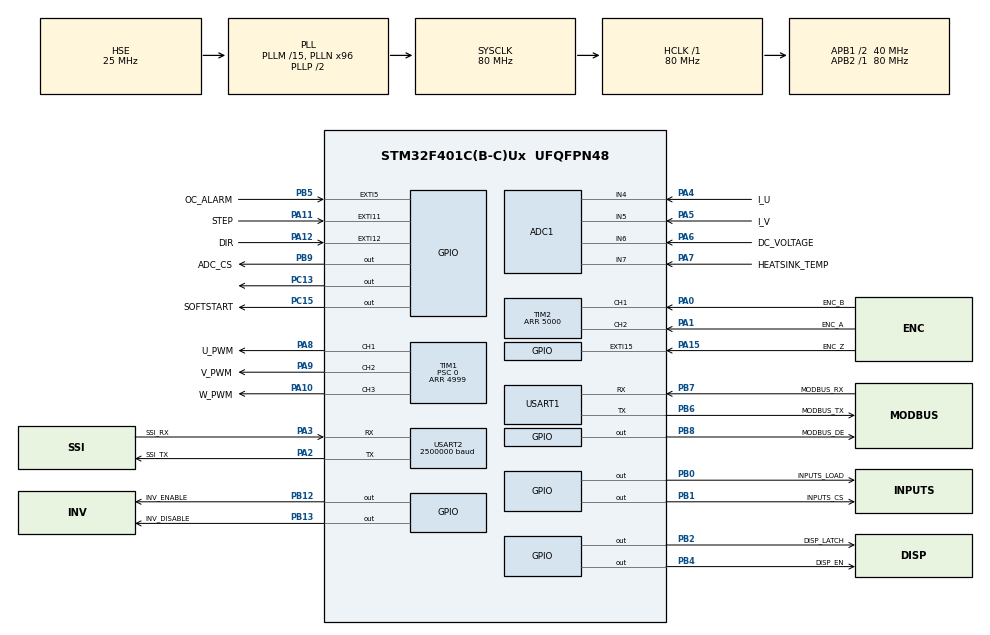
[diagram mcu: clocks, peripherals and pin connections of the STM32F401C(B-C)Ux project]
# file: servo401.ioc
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ADC1.Channel-0\#ChannelRegularConversion=ADC_CHANNEL_4
ADC1.Channel-1\#ChannelRegularConversion=ADC_CHANNEL_5
ADC1.Channel-2\#ChannelRegularConversion=ADC_CHANNEL_6
ADC1.Channel-3\#ChannelRegularConversion=ADC_CHANNEL_7
ADC1.ContinuousConvMode=DISABLE
ADC1.EOCSelection=ADC_EOC_SEQ_CONV
ADC1.NbrOfConversion=4
ADC1.NbrOfConversionFlag=1
ADC1.Rank-0\#ChannelRegularConversion=1
ADC1.Rank-1\#ChannelRegularConversion=2
ADC1.Rank-2\#ChannelRegularConversion=3
ADC1.Rank-3\#ChannelRegularConversion=4
ADC1.SamplingTime-0\#ChannelRegularConversion=ADC_SAMPLETIME_3CYCLES
ADC1.SamplingTime-1\#ChannelRegularConversion=ADC_SAMPLETIME_3CYCLES
ADC1.SamplingTime-2\#ChannelRegularConversion=ADC_SAMPLETIME_3CYCLES
ADC1.SamplingTime-3\#ChannelRegularConversion=ADC_SAMPLETIME_3CYCLES
ADC1.ScanConvMode=ENABLE
ADC1.master=1
Dma.ADC1.0.Direction=DMA_PERIPH_TO_MEMORY
Dma.ADC1.0.FIFOMode=DMA_FIFOMODE_DISABLE
Dma.ADC1.0.Instance=DMA2_Stream0
Dma.ADC1.0.MemDataAlignment=DMA_MDATAALIGN_HALFWORD
Dma.ADC1.0.MemInc=DMA_MINC_ENABLE
Dma.ADC1.0.Mode=DMA_NORMAL
Dma.ADC1.0.PeriphDataAlignment=DMA_PDATAALIGN_HALFWORD
Dma.ADC1.0.PeriphInc=DMA_PINC_DISABLE
Dma.ADC1.0.Priority=DMA_PRIORITY_HIGH
Dma.Request0=ADC1
Dma.Request1=USART1_RX
Dma.Request2=USART1_TX
Dma.Request3=USART2_RX
Dma.Request4=USART2_TX
Dma.USART1_RX.1.Direction=DMA_PERIPH_TO_MEMORY
Dma.USART1_RX.1.FIFOMode=DMA_FIFOMODE_DISABLE
Dma.USART1_RX.1.Instance=DMA2_Stream2
Dma.USART1_RX.1.MemDataAlignment=DMA_MDATAALIGN_BYTE
Dma.USART1_RX.1.MemInc=DMA_MINC_ENABLE
Dma.USART1_RX.1.Mode=DMA_NORMAL
Dma.USART1_RX.1.PeriphDataAlignment=DMA_PDATAALIGN_BYTE
Dma.USART1_RX.1.PeriphInc=DMA_PINC_DISABLE
Dma.USART1_RX.1.Priority=DMA_PRIORITY_LOW
Dma.USART1_TX.2.Direction=DMA_MEMORY_TO_PERIPH
Dma.USART1_TX.2.FIFOMode=DMA_FIFOMODE_DISABLE
Dma.USART1_TX.2.Instance=DMA2_Stream7
Dma.USART1_TX.2.MemDataAlignment=DMA_MDATAALIGN_BYTE
Dma.USART1_TX.2.MemInc=DMA_MINC_ENABLE
Dma.USART1_TX.2.Mode=DMA_NORMAL
Dma.USART1_TX.2.PeriphDataAlignment=DMA_PDATAALIGN_BYTE
Dma.USART1_TX.2.PeriphInc=DMA_PINC_DISABLE
Dma.USART1_TX.2.Priority=DMA_PRIORITY_MEDIUM
Dma.USART2_RX.3.Direction=DMA_PERIPH_TO_MEMORY
Dma.USART2_RX.3.FIFOMode=DMA_FIFOMODE_DISABLE
Dma.USART2_RX.3.Instance=DMA1_Stream5
Dma.USART2_RX.3.MemDataAlignment=DMA_MDATAALIGN_BYTE
Dma.USART2_RX.3.MemInc=DMA_MINC_ENABLE
Dma.USART2_RX.3.Mode=DMA_NORMAL
Dma.USART2_RX.3.PeriphDataAlignment=DMA_PDATAALIGN_BYTE
Dma.USART2_RX.3.PeriphInc=DMA_PINC_DISABLE
Dma.USART2_RX.3.Priority=DMA_PRIORITY_LOW
Dma.USART2_TX.4.Direction=DMA_MEMORY_TO_PERIPH
Dma.USART2_TX.4.FIFOMode=DMA_FIFOMODE_DISABLE
Dma.USART2_TX.4.Instance=DMA1_Stream6
Dma.USART2_TX.4.MemDataAlignment=DMA_MDATAALIGN_BYTE
Dma.USART2_TX.4.MemInc=DMA_MINC_ENABLE
Dma.USART2_TX.4.Mode=DMA_NORMAL
Dma.USART2_TX.4.PeriphDataAlignment=DMA_PDATAALIGN_BYTE
Dma.USART2_TX.4.PeriphInc=DMA_PINC_DISABLE
Dma.USART2_TX.4.Priority=DMA_PRIORITY_LOW
FREERTOS.Tasks01=defaultTask,24,128,StartDefaultTask,Default,NULL,Dynamic,NULL,NULL
FREERTOS.configUSE_NEWLIB_REENTRANT=1
Mcu.Family=STM32F4
Mcu.Name=STM32F401C(B-C)Ux
Mcu.Package=UFQFPN48
NVIC.DMA1_Stream5_IRQn=true\:5\:0\:false\:false\:true\:true\:false\:true\:true
NVIC.DMA1_Stream6_IRQn=true\:5\:0\:false\:false\:true\:true\:false\:true\:true
NVIC.DMA2_Stream0_IRQn=true\:5\:0\:false\:false\:true\:true\:false\:true\:true
NVIC.DMA2_Stream2_IRQn=true\:5\:0\:false\:false\:true\:true\:false\:true\:true
NVIC.DMA2_Stream7_IRQn=true\:5\:0\:false\:false\:true\:true\:false\:true\:true
NVIC.EXTI15_10_IRQn=true\:5\:0\:false\:false\:true\:true\:true\:true\:true
NVIC.PriorityGroup=NVIC_PRIORITYGROUP_4
NVIC.TIM1_UP_TIM10_IRQn=true\:5\:0\:false\:false\:true\:true\:true\:true\:true
NVIC.TIM3_IRQn=true\:5\:0\:false\:false\:true\:true\:true\:true\:true
NVIC.TIM4_IRQn=true\:5\:0\:false\:false\:true\:true\:true\:true\:true
NVIC.USART1_IRQn=true\:5\:0\:false\:false\:true\:true\:true\:true\:true
NVIC.USART2_IRQn=true\:5\:0\:false\:false\:true\:true\:true\:true\:true
PA0-WKUP.GPIO_Label=ENC_B
PA0-WKUP.Signal=S_TIM2_CH1_ETR
PA1.GPIO_Label=ENC_A
PA1.Signal=S_TIM2_CH2
PA10.GPIO_Label=W_PWM
PA10.Signal=S_TIM1_CH3
PA11.GPIO_Label=STEP
PA11.Signal=GPXTI11
PA12.GPIO_Label=DIR
PA12.Signal=GPXTI12
PA13.Mode=Serial_Wire
PA13.Signal=SYS_JTMS-SWDIO
PA14.Mode=Serial_Wire
PA14.Signal=SYS_JTCK-SWCLK
PA15.GPIO_Label=ENC_Z
PA15.Signal=GPXTI15
PA2.GPIO_Label=SSI_TX
PA2.Mode=Asynchronous
PA2.Signal=USART2_TX
PA3.GPIO_Label=SSI_RX
PA3.Mode=Asynchronous
PA3.Signal=USART2_RX
PA4.GPIO_Label=I_U
PA4.Signal=ADCx_IN4
PA5.GPIO_Label=I_V
PA5.Signal=ADCx_IN5
PA6.GPIO_Label=DC_VOLTAGE
PA6.Signal=ADCx_IN6
PA7.GPIO_Label=HEATSINK_TEMP
PA7.Signal=ADCx_IN7
PA8.GPIO_Label=U_PWM
PA8.Signal=S_TIM1_CH1
PA9.GPIO_Label=V_PWM
PA9.Signal=S_TIM1_CH2
PB0.GPIO_Label=INPUTS_LOAD
PB0.Signal=GPIO_Output
PB1.GPIO_Label=INPUTS_CS
PB1.Signal=GPIO_Output
PB10.GPIO_Label=SPI_CLK
PB10.Signal=SPI2_SCK
PB12.GPIO_Label=INV_ENABLE
PB12.PinState=GPIO_PIN_SET
PB12.Signal=GPIO_Output
PB13.GPIO_Label=INV_DISABLE
PB13.PinState=GPIO_PIN_SET
PB13.Signal=GPIO_Output
PB14.Signal=SPI2_MISO
PB15.Signal=SPI2_MOSI
PB2.GPIO_Label=DISP_LATCH
PB2.Signal=GPIO_Output
PB4.GPIO_Label=DISP_EN
PB4.Signal=GPIO_Output
PB5.GPIO_Label=OC_ALARM
PB5.Signal=GPXTI5
PB6.GPIO_Label=MODBUS_TX
PB6.Mode=Asynchronous
PB6.Signal=USART1_TX
PB7.GPIO_Label=MODBUS_RX
PB7.Mode=Asynchronous
PB7.Signal=USART1_RX
PB8.GPIO_Label=MODBUS_DE
PB8.PinState=GPIO_PIN_RESET
PB8.Signal=GPIO_Output
PB9.GPIO_Label=ADC_CS
PB9.Signal=GPIO_Output
PC13-ANTI_TAMP.Signal=GPIO_Output
PC15-OSC32_OUT.GPIO_Label=SOFTSTART
PC15-OSC32_OUT.Signal=GPIO_Output
PH0\ -\ OSC_IN.Mode=HSE-External-Oscillator
PH0\ -\ OSC_IN.Signal=RCC_OSC_IN
PH1\ -\ OSC_OUT.Mode=HSE-External-Oscillator
PH1\ -\ OSC_OUT.Signal=RCC_OSC_OUT
ProjectManager.HeapSize=0x200
ProjectManager.StackSize=0x400
ProjectManager.TargetToolchain=STM32CubeIDE
RCC.48MHZClocksFreq_Value=40000000
RCC.AHBFreq_Value=80000000
RCC.APB1CLKDivider=RCC_HCLK_DIV2
RCC.APB1Freq_Value=40000000
RCC.APB1TimFreq_Value=80000000
RCC.APB2Freq_Value=80000000
RCC.APB2TimFreq_Value=80000000
RCC.CortexFreq_Value=80000000
RCC.HCLKFreq_Value=80000000
RCC.HSE_VALUE=25000000
RCC.HSI_VALUE=16000000
RCC.LSE_VALUE=32768
RCC.PLLM=15
RCC.PLLN=96
RCC.PLLSourceVirtual=RCC_PLLSOURCE_HSE
RCC.SYSCLKFreq_VALUE=80000000
RCC.SYSCLKSource=RCC_SYSCLKSOURCE_PLLCLK
RCC.VCOOutputFreq_Value=160000000
SH.ADCx_IN4.0=ADC1_IN4,IN4
SH.ADCx_IN5.0=ADC1_IN5,IN5
SH.ADCx_IN6.0=ADC1_IN6,IN6
SH.ADCx_IN7.0=ADC1_IN7,IN7
SH.S_TIM1_CH1.0=TIM1_CH1,PWM Generation1 CH1
SH.S_TIM1_CH2.0=TIM1_CH2,PWM Generation2 CH2
SH.S_TIM1_CH3.0=TIM1_CH3,PWM Generation3 CH3
SH.S_TIM2_CH1_ETR.0=TIM2_CH1,Encoder_Interface
SH.S_TIM2_CH2.0=TIM2_CH2,Encoder_Interface
TIM1.Channel-PWM\ Generation1\ CH1=TIM_CHANNEL_1
TIM1.Channel-PWM\ Generation2\ CH2=TIM_CHANNEL_2
TIM1.Channel-PWM\ Generation3\ CH3=TIM_CHANNEL_3
TIM1.CounterMode=TIM_COUNTERMODE_CENTERALIGNED1
TIM1.OCFastMode_PWM-PWM\ Generation1\ CH1=TIM_OCFAST_ENABLE
TIM1.OCFastMode_PWM-PWM\ Generation2\ CH2=TIM_OCFAST_ENABLE
TIM1.OCFastMode_PWM-PWM\ Generation3\ CH3=TIM_OCFAST_ENABLE
TIM1.OCIdleState_1=TIM_OCIDLESTATE_SET
TIM1.OCIdleState_2=TIM_OCIDLESTATE_SET
TIM1.OCIdleState_3=TIM_OCIDLESTATE_SET
TIM1.OCPolarity_1=TIM_OCPOLARITY_LOW
TIM1.OCPolarity_2=TIM_OCPOLARITY_LOW
TIM1.OCPolarity_3=TIM_OCPOLARITY_LOW
TIM1.Period=4999
TIM1.Prescaler=0
TIM2.EncoderMode=TIM_ENCODERMODE_TI2
TIM2.IC1Filter=10
TIM2.IC2Filter=10
TIM2.Period=5000
TIM3.AutoReloadPreload=TIM_AUTORELOAD_PRELOAD_ENABLE
TIM3.Period=15999
TIM4.AutoReloadPreload=TIM_AUTORELOAD_PRELOAD_ENABLE
TIM4.Period=63999
TIM4.Prescaler=1
USART1.VirtualMode=VM_ASYNC
USART2.BaudRate=2500000
USART2.VirtualMode=VM_ASYNC
VP_FREERTOS_VS_CMSIS_V2.Mode=CMSIS_V2
VP_TIM1_VS_ClockSourceINT.Mode=Internal
VP_TIM3_VS_ClockSourceINT.Mode=Internal
VP_TIM4_VS_ClockSourceINT.Mode=Internal
board=custom

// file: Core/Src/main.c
/* USER CODE BEGIN Header */
/**
  ******************************************************************************
  * @file           : main.c
  * @brief          : Main program body
  ******************************************************************************
  * @attention
  *
  * Copyright (c) 2022 STMicroelectronics.
  * All rights reserved.
  *
  * This software is licensed under terms that can be found in the LICENSE file
  * in the root directory of this software component.
  * If no LICENSE file comes with this software, it is provided AS-IS.
  *
  ******************************************************************************
  */
/* USER CODE END Header */
#include "main.h"
#include "cmsis_os.h"

/* USER CODE BEGIN Includes */
#include "comm_modbus.h"
#include <stdio.h>
#include "mitsubishi_encoder.h"
#include "tamagawa_encoder.h"
#include  "delta_encoder.h"
#include "inverter.h"
/* USER CODE END Includes */

ADC_HandleTypeDef hadc1;
DMA_HandleTypeDef hdma_adc1;

TIM_HandleTypeDef htim1;
TIM_HandleTypeDef htim2;
TIM_HandleTypeDef htim3;
TIM_HandleTypeDef htim4;

UART_HandleTypeDef huart1;
UART_HandleTypeDef huart2;
DMA_HandleTypeDef hdma_usart1_rx;
DMA_HandleTypeDef hdma_usart1_tx;
DMA_HandleTypeDef hdma_usart2_rx;
DMA_HandleTypeDef hdma_usart2_tx;

/* Definitions for defaultTask */
osThreadId_t defaultTaskHandle;
const osThreadAttr_t defaultTask_attributes = {
  .name = "defaultTask",
  .stack_size = 128 * 4,
  .priority = (osPriority_t) osPriorityNormal,
};
/* USER CODE BEGIN PV */
extern uint16_t ADC_rawdata[4];
/* USER CODE END PV */

void SystemClock_Config(void);
static void MX_GPIO_Init(void);
static void MX_ADC1_Init(void);
static void MX_TIM1_Init(void);
static void MX_TIM2_Init(void);
static void MX_DMA_Init(void);
static void MX_USART2_UART_Init(void);
static void MX_USART1_UART_Init(void);
static void MX_TIM3_Init(void);
static void MX_TIM4_Init(void);
void StartDefaultTask(void *argument);

int main(void)
{

  /* MCU Configuration--------------------------------------------------------*/

  /* Reset of all peripherals, Initializes the Flash interface and the Systick. */
	HAL_Init();

  /* Configure the system clock */
  SystemClock_Config();

  /* Initialize all configured peripherals */
  MX_GPIO_Init();MX_DMA_Init();
  MX_ADC1_Init();
  MX_TIM1_Init();
  MX_TIM2_Init();

  MX_USART2_UART_Init();
  MX_USART1_UART_Init();
  MX_TIM3_Init();
  MX_TIM4_Init();

  /* Init scheduler */
  osKernelInitialize();

  /* Create the thread(s) */
  /* creation of defaultTask */
  defaultTaskHandle = osThreadNew(StartDefaultTask, NULL, &defaultTask_attributes);

  /* Start scheduler */
  osKernelStart();

  /* We should never get here as control is now taken by the scheduler */
  /* Infinite loop */
  while (1)
  {

  }
}

void SystemClock_Config(void)
{
  RCC_OscInitTypeDef RCC_OscInitStruct = {0};
  RCC_ClkInitTypeDef RCC_ClkInitStruct = {0};

  /** Configure the main internal regulator output voltage
  */
  __HAL_RCC_PWR_CLK_ENABLE();
  __HAL_PWR_VOLTAGESCALING_CONFIG(PWR_REGULATOR_VOLTAGE_SCALE2);

  /** Initializes the RCC Oscillators according to the specified parameters
  * in the RCC_OscInitTypeDef structure.
  */
  RCC_OscInitStruct.OscillatorType = RCC_OSCILLATORTYPE_HSE;
  RCC_OscInitStruct.HSEState = RCC_HSE_ON;
  RCC_OscInitStruct.PLL.PLLState = RCC_PLL_ON;
  RCC_OscInitStruct.PLL.PLLSource = RCC_PLLSOURCE_HSE;
  RCC_OscInitStruct.PLL.PLLM = 15;
  RCC_OscInitStruct.PLL.PLLN = 96;
  RCC_OscInitStruct.PLL.PLLP = RCC_PLLP_DIV2;
  RCC_OscInitStruct.PLL.PLLQ = 4;
  if (HAL_RCC_OscConfig(&RCC_OscInitStruct) != HAL_OK)
  {
    Error_Handler();
  }

  /** Initializes the CPU, AHB and APB buses clocks
  */
  RCC_ClkInitStruct.ClockType = RCC_CLOCKTYPE_HCLK|RCC_CLOCKTYPE_SYSCLK
                              |RCC_CLOCKTYPE_PCLK1|RCC_CLOCKTYPE_PCLK2;
  RCC_ClkInitStruct.SYSCLKSource = RCC_SYSCLKSOURCE_PLLCLK;
  RCC_ClkInitStruct.AHBCLKDivider = RCC_SYSCLK_DIV1;
  RCC_ClkInitStruct.APB1CLKDivider = RCC_HCLK_DIV2;
  RCC_ClkInitStruct.APB2CLKDivider = RCC_HCLK_DIV1;

  if (HAL_RCC_ClockConfig(&RCC_ClkInitStruct, FLASH_LATENCY_2) != HAL_OK)
  {
    Error_Handler();
  }
}

static void MX_ADC1_Init(void)
{

  ADC_ChannelConfTypeDef sConfig = {0};

  /** Configure the global features of the ADC (Clock, Resolution, Data Alignment and number of conversion)
  */
  hadc1.Instance = ADC1;
  hadc1.Init.ClockPrescaler = ADC_CLOCK_SYNC_PCLK_DIV4;
  hadc1.Init.Resolution = ADC_RESOLUTION_12B;
  hadc1.Init.ScanConvMode = ENABLE;
  hadc1.Init.ContinuousConvMode = DISABLE;
  hadc1.Init.DiscontinuousConvMode = DISABLE;
  hadc1.Init.ExternalTrigConvEdge = ADC_EXTERNALTRIGCONVEDGE_NONE;
  hadc1.Init.ExternalTrigConv = ADC_SOFTWARE_START;
  hadc1.Init.DataAlign = ADC_DATAALIGN_RIGHT;
  hadc1.Init.NbrOfConversion = 4;
  hadc1.Init.DMAContinuousRequests = DISABLE;
  hadc1.Init.EOCSelection = ADC_EOC_SEQ_CONV;
  if (HAL_ADC_Init(&hadc1) != HAL_OK)
  {
    Error_Handler();
  }

  /** Configure for the selected ADC regular channel its corresponding rank in the sequencer and its sample time.
  */
  sConfig.Channel = ADC_CHANNEL_4;
  sConfig.Rank = 1;
  sConfig.SamplingTime = ADC_SAMPLETIME_3CYCLES;
  if (HAL_ADC_ConfigChannel(&hadc1, &sConfig) != HAL_OK)
  {
    Error_Handler();
  }

  /** Configure for the selected ADC regular channel its corresponding rank in the sequencer and its sample time.
  */
  sConfig.Channel = ADC_CHANNEL_5;
  sConfig.Rank = 2;
  if (HAL_ADC_ConfigChannel(&hadc1, &sConfig) != HAL_OK)
  {
    Error_Handler();
  }

  /** Configure for the selected ADC regular channel its corresponding rank in the sequencer and its sample time.
  */
  sConfig.Channel = ADC_CHANNEL_6;
  sConfig.Rank = 3;
  if (HAL_ADC_ConfigChannel(&hadc1, &sConfig) != HAL_OK)
  {
    Error_Handler();
  }

  /** Configure for the selected ADC regular channel its corresponding rank in the sequencer and its sample time.
  */
  sConfig.Channel = ADC_CHANNEL_7;
  sConfig.Rank = 4;
  if (HAL_ADC_ConfigChannel(&hadc1, &sConfig) != HAL_OK)
  {
    Error_Handler();
  }

}

static void MX_TIM1_Init(void)
{

  TIM_ClockConfigTypeDef sClockSourceConfig = {0};
  TIM_MasterConfigTypeDef sMasterConfig = {0};
  TIM_OC_InitTypeDef sConfigOC = {0};
  TIM_BreakDeadTimeConfigTypeDef sBreakDeadTimeConfig = {0};

  htim1.Instance = TIM1;
  htim1.Init.Prescaler = 0;
  htim1.Init.CounterMode = TIM_COUNTERMODE_CENTERALIGNED1;
  htim1.Init.Period = 4999;
  htim1.Init.ClockDivision = TIM_CLOCKDIVISION_DIV1;
  htim1.Init.RepetitionCounter = 0;
  htim1.Init.AutoReloadPreload = TIM_AUTORELOAD_PRELOAD_DISABLE;
  if (HAL_TIM_Base_Init(&htim1) != HAL_OK)
  {
    Error_Handler();
  }
  sClockSourceConfig.ClockSource = TIM_CLOCKSOURCE_INTERNAL;
  if (HAL_TIM_ConfigClockSource(&htim1, &sClockSourceConfig) != HAL_OK)
  {
    Error_Handler();
  }
  if (HAL_TIM_PWM_Init(&htim1) != HAL_OK)
  {
    Error_Handler();
  }
  sMasterConfig.MasterOutputTrigger = TIM_TRGO_RESET;
  sMasterConfig.MasterSlaveMode = TIM_MASTERSLAVEMODE_DISABLE;
  if (HAL_TIMEx_MasterConfigSynchronization(&htim1, &sMasterConfig) != HAL_OK)
  {
    Error_Handler();
  }
  sConfigOC.OCMode = TIM_OCMODE_PWM1;
  sConfigOC.Pulse = 0;
  sConfigOC.OCPolarity = TIM_OCPOLARITY_LOW;
  sConfigOC.OCNPolarity = TIM_OCNPOLARITY_HIGH;
  sConfigOC.OCFastMode = TIM_OCFAST_ENABLE;
  sConfigOC.OCIdleState = TIM_OCIDLESTATE_SET;
  sConfigOC.OCNIdleState = TIM_OCNIDLESTATE_RESET;
  if (HAL_TIM_PWM_ConfigChannel(&htim1, &sConfigOC, TIM_CHANNEL_1) != HAL_OK)
  {
    Error_Handler();
  }
  if (HAL_TIM_PWM_ConfigChannel(&htim1, &sConfigOC, TIM_CHANNEL_2) != HAL_OK)
  {
    Error_Handler();
  }
  if (HAL_TIM_PWM_ConfigChannel(&htim1, &sConfigOC, TIM_CHANNEL_3) != HAL_OK)
  {
    Error_Handler();
  }
  sBreakDeadTimeConfig.OffStateRunMode = TIM_OSSR_DISABLE;
  sBreakDeadTimeConfig.OffStateIDLEMode = TIM_OSSI_DISABLE;
  sBreakDeadTimeConfig.LockLevel = TIM_LOCKLEVEL_OFF;
  sBreakDeadTimeConfig.DeadTime = 0;
  sBreakDeadTimeConfig.BreakState = TIM_BREAK_DISABLE;
  sBreakDeadTimeConfig.BreakPolarity = TIM_BREAKPOLARITY_HIGH;
  sBreakDeadTimeConfig.AutomaticOutput = TIM_AUTOMATICOUTPUT_DISABLE;
  if (HAL_TIMEx_ConfigBreakDeadTime(&htim1, &sBreakDeadTimeConfig) != HAL_OK)
  {
    Error_Handler();
  }
  HAL_TIM_MspPostInit(&htim1);

}

static void MX_TIM2_Init(void)
{

  TIM_Encoder_InitTypeDef sConfig = {0};
  TIM_MasterConfigTypeDef sMasterConfig = {0};

  htim2.Instance = TIM2;
  htim2.Init.Prescaler = 0;
  htim2.Init.CounterMode = TIM_COUNTERMODE_UP;
  htim2.Init.Period = 5000;
  htim2.Init.ClockDivision = TIM_CLOCKDIVISION_DIV1;
  htim2.Init.AutoReloadPreload = TIM_AUTORELOAD_PRELOAD_DISABLE;
  sConfig.EncoderMode = TIM_ENCODERMODE_TI2;
  sConfig.IC1Polarity = TIM_ICPOLARITY_RISING;
  sConfig.IC1Selection = TIM_ICSELECTION_DIRECTTI;
  sConfig.IC1Prescaler = TIM_ICPSC_DIV1;
  sConfig.IC1Filter = 10;
  sConfig.IC2Polarity = TIM_ICPOLARITY_RISING;
  sConfig.IC2Selection = TIM_ICSELECTION_DIRECTTI;
  sConfig.IC2Prescaler = TIM_ICPSC_DIV1;
  sConfig.IC2Filter = 10;
  if (HAL_TIM_Encoder_Init(&htim2, &sConfig) != HAL_OK)
  {
    Error_Handler();
  }
  sMasterConfig.MasterOutputTrigger = TIM_TRGO_RESET;
  sMasterConfig.MasterSlaveMode = TIM_MASTERSLAVEMODE_DISABLE;
  if (HAL_TIMEx_MasterConfigSynchronization(&htim2, &sMasterConfig) != HAL_OK)
  {
    Error_Handler();
  }

}

static void MX_TIM3_Init(void)
{

  TIM_ClockConfigTypeDef sClockSourceConfig = {0};
  TIM_MasterConfigTypeDef sMasterConfig = {0};

  htim3.Instance = TIM3;
  htim3.Init.Prescaler = 0;
  htim3.Init.CounterMode = TIM_COUNTERMODE_UP;
  htim3.Init.Period = 15999;
  htim3.Init.ClockDivision = TIM_CLOCKDIVISION_DIV1;
  htim3.Init.AutoReloadPreload = TIM_AUTORELOAD_PRELOAD_ENABLE;
  if (HAL_TIM_Base_Init(&htim3) != HAL_OK)
  {
    Error_Handler();
  }
  sClockSourceConfig.ClockSource = TIM_CLOCKSOURCE_INTERNAL;
  if (HAL_TIM_ConfigClockSource(&htim3, &sClockSourceConfig) != HAL_OK)
  {
    Error_Handler();
  }
  sMasterConfig.MasterOutputTrigger = TIM_TRGO_RESET;
  sMasterConfig.MasterSlaveMode = TIM_MASTERSLAVEMODE_DISABLE;
  if (HAL_TIMEx_MasterConfigSynchronization(&htim3, &sMasterConfig) != HAL_OK)
  {
    Error_Handler();
  }

}

static void MX_TIM4_Init(void)
{

  TIM_ClockConfigTypeDef sClockSourceConfig = {0};
  TIM_MasterConfigTypeDef sMasterConfig = {0};

  htim4.Instance = TIM4;
  htim4.Init.Prescaler = 1;
  htim4.Init.CounterMode = TIM_COUNTERMODE_UP;
  htim4.Init.Period = 63999;
  htim4.Init.ClockDivision = TIM_CLOCKDIVISION_DIV1;
  htim4.Init.AutoReloadPreload = TIM_AUTORELOAD_PRELOAD_ENABLE;
  if (HAL_TIM_Base_Init(&htim4) != HAL_OK)
  {
    Error_Handler();
  }
  sClockSourceConfig.ClockSource = TIM_CLOCKSOURCE_INTERNAL;
  if (HAL_TIM_ConfigClockSource(&htim4, &sClockSourceConfig) != HAL_OK)
  {
    Error_Handler();
  }
  sMasterConfig.MasterOutputTrigger = TIM_TRGO_RESET;
  sMasterConfig.MasterSlaveMode = TIM_MASTERSLAVEMODE_DISABLE;
  if (HAL_TIMEx_MasterConfigSynchronization(&htim4, &sMasterConfig) != HAL_OK)
  {
    Error_Handler();
  }

}

static void MX_USART1_UART_Init(void)
{

  huart1.Instance = USART1;
  huart1.Init.BaudRate = 115200;
  huart1.Init.WordLength = UART_WORDLENGTH_8B;
  huart1.Init.StopBits = UART_STOPBITS_1;
  huart1.Init.Parity = UART_PARITY_NONE;
  huart1.Init.Mode = UART_MODE_TX_RX;
  huart1.Init.HwFlowCtl = UART_HWCONTROL_NONE;
  huart1.Init.OverSampling = UART_OVERSAMPLING_16;
  if (HAL_UART_Init(&huart1) != HAL_OK)
  {
    Error_Handler();
  }
  /* USER CODE BEGIN USART1_Init 2 */
  __HAL_UART_ENABLE_IT(&huart1, UART_IT_IDLE);
    HAL_UARTEx_ReceiveToIdle_DMA(&huart1, (uint8_t *) UART_RX_buf, sizeof(UART_RX_buf));
  /* USER CODE END USART1_Init 2 */

}

static void MX_USART2_UART_Init(void)
{

  huart2.Instance = USART2;
  huart2.Init.BaudRate = 2500000;
  huart2.Init.WordLength = UART_WORDLENGTH_8B;
  huart2.Init.StopBits = UART_STOPBITS_1;
  huart2.Init.Parity = UART_PARITY_NONE;
  huart2.Init.Mode = UART_MODE_TX_RX;
  huart2.Init.HwFlowCtl = UART_HWCONTROL_NONE;
  huart2.Init.OverSampling = UART_OVERSAMPLING_16;
  if (HAL_UART_Init(&huart2) != HAL_OK)
  {
    Error_Handler();
  }

}

static void MX_DMA_Init(void)
{

  /* DMA controller clock enable */
  __HAL_RCC_DMA2_CLK_ENABLE();
  __HAL_RCC_DMA1_CLK_ENABLE();

  /* DMA interrupt init */
  /* DMA1_Stream5_IRQn interrupt configuration */
  HAL_NVIC_SetPriority(DMA1_Stream5_IRQn, 5, 0);
  HAL_NVIC_EnableIRQ(DMA1_Stream5_IRQn);
  /* DMA1_Stream6_IRQn interrupt configuration */
  HAL_NVIC_SetPriority(DMA1_Stream6_IRQn, 5, 0);
  HAL_NVIC_EnableIRQ(DMA1_Stream6_IRQn);
  /* DMA2_Stream0_IRQn interrupt configuration */
  HAL_NVIC_SetPriority(DMA2_Stream0_IRQn, 5, 0);
  HAL_NVIC_EnableIRQ(DMA2_Stream0_IRQn);
  /* DMA2_Stream2_IRQn interrupt configuration */
  HAL_NVIC_SetPriority(DMA2_Stream2_IRQn, 5, 0);
  HAL_NVIC_EnableIRQ(DMA2_Stream2_IRQn);
  /* DMA2_Stream7_IRQn interrupt configuration */
  HAL_NVIC_SetPriority(DMA2_Stream7_IRQn, 5, 0);
  HAL_NVIC_EnableIRQ(DMA2_Stream7_IRQn);

}

static void MX_GPIO_Init(void)
{
  GPIO_InitTypeDef GPIO_InitStruct = {0};

  /* GPIO Ports Clock Enable */
  __HAL_RCC_GPIOC_CLK_ENABLE();
  __HAL_RCC_GPIOH_CLK_ENABLE();
  __HAL_RCC_GPIOA_CLK_ENABLE();
  __HAL_RCC_GPIOB_CLK_ENABLE();

  /*Configure GPIO pin Output Level */
  HAL_GPIO_WritePin(GPIOC, GPIO_PIN_13|SOFTSTART_Pin, GPIO_PIN_RESET);

  /*Configure GPIO pin Output Level */
  HAL_GPIO_WritePin(GPIOB, INPUTS_LOAD_Pin|INPUTS_CS_Pin|DISP_LATCH_Pin|DISP_EN_Pin
                          |MODBUS_DE_Pin|ADC_CS_Pin, GPIO_PIN_RESET);

  /*Configure GPIO pin Output Level */
  HAL_GPIO_WritePin(GPIOB, INV_ENABLE_Pin|INV_DISABLE_Pin, GPIO_PIN_SET);

  /*Configure GPIO pins : PC13 SOFTSTART_Pin */
  GPIO_InitStruct.Pin = GPIO_PIN_13|SOFTSTART_Pin;
  GPIO_InitStruct.Mode = GPIO_MODE_OUTPUT_PP;
  GPIO_InitStruct.Pull = GPIO_NOPULL;
  GPIO_InitStruct.Speed = GPIO_SPEED_FREQ_LOW;
  HAL_GPIO_Init(GPIOC, &GPIO_InitStruct);

  /*Configure GPIO pins : INPUTS_LOAD_Pin INPUTS_CS_Pin DISP_LATCH_Pin INV_ENABLE_Pin
                           INV_DISABLE_Pin DISP_EN_Pin MODBUS_DE_Pin ADC_CS_Pin */
  GPIO_InitStruct.Pin = INPUTS_LOAD_Pin|INPUTS_CS_Pin|DISP_LATCH_Pin|INV_ENABLE_Pin
                          |INV_DISABLE_Pin|DISP_EN_Pin|MODBUS_DE_Pin|ADC_CS_Pin;
  GPIO_InitStruct.Mode = GPIO_MODE_OUTPUT_PP;
  GPIO_InitStruct.Pull = GPIO_NOPULL;
  GPIO_InitStruct.Speed = GPIO_SPEED_FREQ_LOW;
  HAL_GPIO_Init(GPIOB, &GPIO_InitStruct);

  /*Configure GPIO pins : SPI_CLK_Pin PB14 PB15 */
  GPIO_InitStruct.Pin = SPI_CLK_Pin|GPIO_PIN_14|GPIO_PIN_15;
  GPIO_InitStruct.Mode = GPIO_MODE_AF_PP;
  GPIO_InitStruct.Pull = GPIO_NOPULL;
  GPIO_InitStruct.Speed = GPIO_SPEED_FREQ_VERY_HIGH;
  GPIO_InitStruct.Alternate = GPIO_AF5_SPI2;
  HAL_GPIO_Init(GPIOB, &GPIO_InitStruct);

  /*Configure GPIO pins : STEP_Pin DIR_Pin ENC_Z_Pin */
  GPIO_InitStruct.Pin = STEP_Pin|DIR_Pin|ENC_Z_Pin;
  GPIO_InitStruct.Mode = GPIO_MODE_IT_RISING;
  GPIO_InitStruct.Pull = GPIO_NOPULL;
  HAL_GPIO_Init(GPIOA, &GPIO_InitStruct);

  /*Configure GPIO pin : OC_ALARM_Pin */
  GPIO_InitStruct.Pin = OC_ALARM_Pin;
  GPIO_InitStruct.Mode = GPIO_MODE_IT_RISING;
  GPIO_InitStruct.Pull = GPIO_NOPULL;
  HAL_GPIO_Init(OC_ALARM_GPIO_Port, &GPIO_InitStruct);

  /* EXTI interrupt init*/
  HAL_NVIC_SetPriority(EXTI15_10_IRQn, 5, 0);
  HAL_NVIC_EnableIRQ(EXTI15_10_IRQn);

}

/* USER CODE BEGIN 4 */
void HAL_UARTEx_RxEventCallback(UART_HandleTypeDef *huart, uint16_t Size){
	modbus_process_new_data_to_fifo(huart,Size);

}

void HAL_UART_ErrorCallback(UART_HandleTypeDef *huart)
{
     if(huart == &huart1)
     {
         HAL_UART_DeInit(&huart1);
         MX_USART1_UART_Init();
     }
}

void HAL_UART_TxCpltCallback(UART_HandleTypeDef *huart)
{
	if(huart->Instance == USART1){
		HAL_GPIO_WritePin(MODBUS_DE_GPIO_Port,MODBUS_DE_Pin, 0);
	}
	//this callback is too slow for encoder communication, changed UART2 TX to blocking transmission since only 1 byte is sent to encoder this should be quick
}
/* USER CODE END 4 */

void StartDefaultTask(void *argument)
{
	/* USER CODE BEGIN 5 */
	//HAL_ADC_Start_DMA(&hadc1, ADC_rawdata, 4);
	Modbus_init();
	osDelay(300);
	HAL_TIM_Base_Start_IT(&htim3);
	HAL_TIM_Base_Start_IT(&htim4);
	HAL_TIM_Base_Start_IT(&htim1); //16 khz ISR synchronized with PWM
	HAL_TIM_Encoder_Start(&htim2, TIM_CHANNEL_ALL);
	if(parameter_set.motor_feedback_type==delta_encoder){delta_encoder_init();}

	/* Infinite loop */
	for(;;)
	{
		process_modbus_command();
		if(parameter_set.motor_feedback_type == mitsubishi_encoder && mitsubishi_encoder_data.encoder_state==encoder_eeprom_reading){mitsubishi_motor_identification();}
		if(parameter_set.motor_feedback_type==tamagawa_encoder && tamagawa_encoder_data.encoder_state==encoder_eeprom_reading){tamagawa_encoder_motor_identification();	}
		osDelay(1);
	}
	/* USER CODE END 5 */
}

void Error_Handler(void)
{
  __disable_irq();
  while (1)
  {
  }
}
